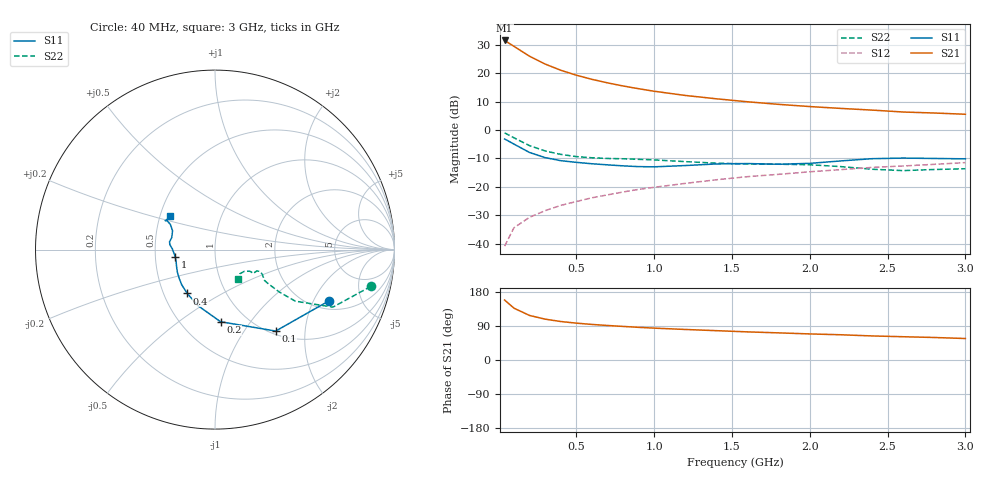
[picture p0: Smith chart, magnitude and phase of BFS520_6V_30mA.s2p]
! Filename:  BFS520L.S2P  Version:  4.0
! Philips part #: BFS520  Date: Jun 1994
! Bias condition: Vce=6V, Ic=30mA
#  MHz  S  MA  R  50
! Freq  S11  S21  S12  S22  !GUM [dB]
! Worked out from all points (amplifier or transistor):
!   21 points, 40 MHz to 3 GHz, reference 50 ohm
!   highest |S21| = 31.6 dB at 40 MHz (marker M1)
!   |S21| within 3 dB of that: start of sweep to 126.7 MHz
!   unconditionally stable (mu >= 1): 577 MHz to end of sweep
!   at 300 MHz: K = 0.84, MSG = 25.8 dB, |S12| = -28.4 dB
!   at 1 GHz: K = 1.08, MAG = 15.2 dB, |S12| = -20.2 dB
!   at 3 GHz: K = 1.05, MAG = 7.1 dB, |S12| = -11.5 dB
!   S11 on the Smith chart (normalised r, x): 40 MHz: 2.41, -2.67; 100 MHz: 1.06, -1.41; 200 MHz: 0.76, -0.73; 400 MHz: 0.66, -0.35; 1 GHz: 0.64, -0.05; 3 GHz: 0.57, +0.23
40  0.697 -24.1  37.92 158.2  0.009 78.9  0.892 -13.3
100  0.566 -53.3  29.89 136.8  0.019 68.6  0.731 -26.0
200  0.403 -85.6  20 117.6  0.029 64.4  0.532 -32.7
300  0.327 -106.7  14.57 107.8  0.038 65.6  0.429 -33.4
400  0.289 -122.4  11.35 101.6  0.047 67.7  0.373 -32.9
500  0.27 -133.3  9.276 97.3  0.055 69.4  0.341 -32.4
600  0.255 -141.9  7.845 93.9  0.064 70.4  0.325 -31.9
700  0.244 -149.4  6.799 91.1  0.072 71.6  0.316 -31.2
800  0.234 -156.2  5.989 88.6  0.081 72.4  0.312 -30.1
900  0.227 -162.7  5.357 86.2  0.09 72.8  0.305 -28.9
1000  0.225 -169.8  4.834 84.1  0.098 73.3  0.298 -27.6
1200  0.237 179.3  4.075 80.6  0.115 73.5  0.278 -25.9
1400  0.253 173.8  3.557 77.4  0.133 74.0  0.261 -27.2
1600  0.257 170.2  3.151 74.2  0.151 73.3  0.253 -30.9
1800  0.25 164.5  2.838 71.6  0.166 73.3  0.25 -32.1
2000  0.259 156.0  2.596 68.8  0.184 72.9  0.245 -31.7
2200  0.286 150.5  2.406 66.6  0.201 72.7  0.227 -31.9
2400  0.313 148.9  2.249 63.5  0.22 72.1  0.204 -36.2
2600  0.321 149.8  2.08 61.4  0.233 71.1  0.193 -44.3
2800  0.316 148.3  1.998 59.4  0.249 71.0  0.202 -50.1
3000  0.311 143.0  1.899 56.7  0.267 70.2  0.208 -51.9
